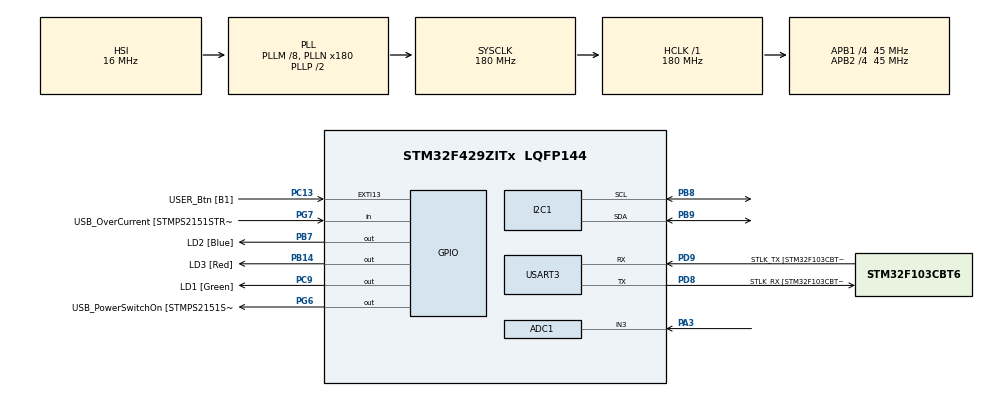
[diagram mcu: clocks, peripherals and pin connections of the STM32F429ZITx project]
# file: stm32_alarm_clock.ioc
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ADC1.Channel-0\#ChannelRegularConversion=ADC_CHANNEL_3
ADC1.ClockPrescaler=ADC_CLOCK_SYNC_PCLK_DIV2
ADC1.ExternalTrigConv=ADC_EXTERNALTRIGCONV_T3_TRGO
ADC1.ExternalTrigConvEdge=ADC_EXTERNALTRIGCONVEDGE_RISINGFALLING
ADC1.NbrOfConversionFlag=1
ADC1.Rank-0\#ChannelRegularConversion=1
ADC1.SamplingTime-0\#ChannelRegularConversion=ADC_SAMPLETIME_3CYCLES
ADC1.master=1
Mcu.Family=STM32F4
Mcu.Name=STM32F429ZITx
Mcu.Package=LQFP144
NVIC.EXTI15_10_IRQn=true\:0\:0\:false\:true\:true\:1\:true\:true
NVIC.PriorityGroup=NVIC_PRIORITYGROUP_4
NVIC.TIM2_IRQn=true\:0\:0\:false\:false\:true\:true\:true
NVIC.TIM3_IRQn=true\:0\:0\:false\:false\:true\:true\:true
NVIC.USART3_IRQn=true\:0\:0\:false\:false\:true\:true\:true
PA1.GPIO_Label=RMII_REF_CLK [LAN8742A-CZ-TR_REFCLK0]
PA1.Signal=ETH_REF_CLK
PA10.GPIO_Label=USB_ID
PA10.Signal=USB_OTG_FS_ID
PA11.GPIO_Label=USB_DM
PA11.Signal=USB_OTG_FS_DM
PA12.GPIO_Label=USB_DP
PA12.Signal=USB_OTG_FS_DP
PA13.GPIO_Label=TMS
PA13.Mode=Serial_Wire
PA13.Signal=SYS_JTMS-SWDIO
PA14.GPIO_Label=TCK
PA14.Mode=Serial_Wire
PA14.Signal=SYS_JTCK-SWCLK
PA2.GPIO_Label=RMII_MDIO [LAN8742A-CZ-TR_MDIO]
PA2.Signal=ETH_MDIO
PA3.Signal=ADCx_IN3
PA7.GPIO_Label=RMII_CRS_DV [LAN8742A-CZ-TR_CRS_DV]
PA7.Signal=ETH_CRS_DV
PA8.GPIO_Label=USB_SOF [TP1]
PA8.Signal=USB_OTG_FS_SOF
PA9.GPIO_Label=USB_VBUS
PA9.Signal=USB_OTG_FS_VBUS
PB13.GPIO_Label=RMII_TXD1 [LAN8742A-CZ-TR_TXD1]
PB13.Signal=ETH_TXD1
PB14.GPIO_Label=LD3 [Red]
PB14.Signal=GPIO_Output
PB7.GPIO_Label=LD2 [Blue]
PB7.Signal=GPIO_Output
PB8.Mode=I2C
PB8.Signal=I2C1_SCL
PB9.Mode=I2C
PB9.Signal=I2C1_SDA
PC1.GPIO_Label=RMII_MDC [LAN8742A-CZ-TR_MDC]
PC1.Signal=ETH_MDC
PC13.GPIO_Label=USER_Btn [B1]
PC13.GPIO_ModeDefaultEXTI=GPIO_MODE_IT_RISING_FALLING
PC13.Signal=GPXTI13
PC14/OSC32_IN.Mode=LSE-External-Oscillator
PC14/OSC32_IN.Signal=RCC_OSC32_IN
PC15/OSC32_OUT.Mode=LSE-External-Oscillator
PC15/OSC32_OUT.Signal=RCC_OSC32_OUT
PC4.GPIO_Label=RMII_RXD0 [LAN8742A-CZ-TR_RXD0]
PC4.Signal=ETH_RXD0
PC5.GPIO_Label=RMII_RXD1 [LAN8742A-CZ-TR_RXD1]
PC5.Signal=ETH_RXD1
PC9.GPIO_Label=LD1 [Green]
PC9.Signal=GPIO_Output
PD8.GPIO_Label=STLK_RX [STM32F103CBT6_PA3]
PD8.Mode=Asynchronous
PD8.Signal=USART3_TX
PD9.GPIO_Label=STLK_TX [STM32F103CBT6_PA2]
PD9.Mode=Asynchronous
PD9.Signal=USART3_RX
PG11.GPIO_Label=RMII_TX_EN [LAN8742A-CZ-TR_TXEN]
PG11.Signal=ETH_TX_EN
PG13.GPIO_Label=RMII_TXD0 [LAN8742A-CZ-TR_TXD0]
PG13.Signal=ETH_TXD0
PG6.GPIO_Label=USB_PowerSwitchOn [STMPS2151STR_EN]
PG6.Signal=GPIO_Output
PG7.GPIO_Label=USB_OverCurrent [STMPS2151STR_FAULT]
PG7.Signal=GPIO_Input
PH0/OSC_IN.GPIO_Label=MCO [STM32F103CBT6_PA8]
PH0/OSC_IN.Signal=RCC_OSC_IN
ProjectManager.HeapSize=0x200
ProjectManager.StackSize=0x400
ProjectManager.TargetToolchain=STM32CubeIDE
RCC.48MHZClocksFreq_Value=51428571.428571425
RCC.AHBFreq_Value=180000000
RCC.APB1CLKDivider=RCC_HCLK_DIV4
RCC.APB1Freq_Value=45000000
RCC.APB1TimFreq_Value=90000000
RCC.APB2CLKDivider=RCC_HCLK_DIV4
RCC.APB2Freq_Value=45000000
RCC.APB2TimCLKDivider=2
RCC.APB2TimFreq_Value=90000000
RCC.CortexFreq_Value=180000000
RCC.HCLKFreq_Value=180000000
RCC.HSE_VALUE=8000000
RCC.HSI_VALUE=16000000
RCC.PLLM=8
RCC.PLLMUL=RCC_PLL_MUL9
RCC.PLLN=180
RCC.PLLQ=7
RCC.PRESCALERUSB=RCC_USBCLKSOURCE_PLL_DIV1_5
RCC.RCC_RTC_Clock_Source=RCC_RTCCLKSOURCE_LSE
RCC.RCC_RTC_Clock_SourceVirtual=RCC_RTCCLKSOURCE_LSE
RCC.SYSCLKFreq_VALUE=180000000
RCC.SYSCLKSource=RCC_SYSCLKSOURCE_PLLCLK
RCC.SYSCLKSourceVirtual=RCC_SYSCLKSOURCE_PLLCLK
RCC.USBFreq_Value=48000000
RCC.VCOOutputFreq_Value=360000000
SH.ADCx_IN3.0=ADC1_IN3,IN3
TIM2.Period=900
TIM2.Prescaler=1000
TIM3.Period=900
TIM3.Prescaler=10000
TIM3.TIM_MasterOutputTrigger=TIM_TRGO_UPDATE
TIM3.TIM_MasterSlaveMode=TIM_MASTERSLAVEMODE_ENABLE
USART3.VirtualMode=VM_ASYNC
VP_RTC_VS_RTC_Activate.Mode=RTC_Enabled
VP_TIM2_VS_ClockSourceINT.Mode=Internal
VP_TIM3_VS_ClockSourceINT.Mode=Internal
board=NUCLEO-F429ZI

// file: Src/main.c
/* USER CODE BEGIN Header */
/**
  ******************************************************************************
  * @file           : main.c
  * @brief          : Main program body
  ******************************************************************************
  * @attention
  *
  * <h2><center>&copy; Copyright (c) 2020 STMicroelectronics.
  * All rights reserved.</center></h2>
  *
  * This software component is licensed by ST under BSD 3-Clause license,
  * the "License"; You may not use this file except in compliance with the
  * License. You may obtain a copy of the License at:
  *                        opensource.org/licenses/BSD-3-Clause
  *
  ******************************************************************************
  */
/* USER CODE END Header */

#include "main.h"

/* USER CODE BEGIN PD */
/* Arrow Keys mapping
 * UP = 'A' = 65
 * DOWN = 'B' = 66
 * RIGHT = 'C' = 67
 * LEFT = 'D' = 68
 * ENTER = 13
 */
int ADC_value;

#define UP_KEY_MIN 0
#define UP_KEY_MAX 10
#define DOWN_KEY_MIN 830
#define DOWN_KEY_MAX 870
#define LEFT_KEY_MIN 1900
#define LEFT_KEY_MAX 1980
#define RIGHT_KEY_MIN 2920
#define RIGHT_KEY_MAX 3020

#define UP_KEY  65
#define DOWN_KEY 66
#define RIGHT_KEY 67
#define LEFT_KEY  68
#define SEL_KEY  13

#define LONG_CLICK_MIN 20
#define LONG_CLICK_MAX 50
#define LONG_CLICK_COUNT 30

#define DOUBLE_CLICK_MIN 100
#define DOUBLE_CLICK_MAX 200

#define NORMAL_CLICK_MIN 500

enum CLOCK_MODE{
	NORMAL_STATE,
	TIME_SETTING,
	ALARM_TIME_SETTING,
	MUSIC_SELECT
};

enum CLOCK_BUTTON{
	NO_KEY,
	UP,
	DOWN,
	RIGHT,
	LEFT,
	SEL
};

struct clock_state{
	enum CLOCK_MODE mode;
	enum CLOCK_BUTTON button;
	int music_num;
};

struct clock_state current_state;

typedef struct {
  int8_t hours;
  int8_t minutes;
  int8_t seconds;
}TimeTypeDef;

TimeTypeDef ctime;  // current time
TimeTypeDef stime; // setting time
TimeTypeDef atime;  // alarm time

typedef struct {
  int8_t music_num;
  char music_title[16];
}MusicTypeDef;

MusicTypeDef alarm_music[] =
{
  {0,"Three Bears"},
  {1,"Spring Water"},
  {2,"Bicycle"},
  {3,"Home town"},
  {4,"Mom"},

};

/* Base address of the Flash sectors Bank 1 */
#define ADDR_FLASH_SECTOR_0     ((uint32_t)0x08000000) /* Base @ of Sector 0, 16 Kbytes */
#define ADDR_FLASH_SECTOR_1     ((uint32_t)0x08004000) /* Base @ of Sector 1, 16 Kbytes */
#define ADDR_FLASH_SECTOR_2     ((uint32_t)0x08008000) /* Base @ of Sector 2, 16 Kbytes */
#define ADDR_FLASH_SECTOR_3     ((uint32_t)0x0800C000) /* Base @ of Sector 3, 16 Kbytes */
#define ADDR_FLASH_SECTOR_4     ((uint32_t)0x08010000) /* Base @ of Sector 4, 64 Kbytes */
#define ADDR_FLASH_SECTOR_5     ((uint32_t)0x08020000) /* Base @ of Sector 5, 128 Kbytes */
#define ADDR_FLASH_SECTOR_6     ((uint32_t)0x08040000) /* Base @ of Sector 6, 128 Kbytes */
#define ADDR_FLASH_SECTOR_7     ((uint32_t)0x08060000) /* Base @ of Sector 7, 128 Kbytes */
#define ADDR_FLASH_SECTOR_8     ((uint32_t)0x08080000) /* Base @ of Sector 8, 128 Kbytes */
#define ADDR_FLASH_SECTOR_9     ((uint32_t)0x080A0000) /* Base @ of Sector 9, 128 Kbytes */
#define ADDR_FLASH_SECTOR_10    ((uint32_t)0x080C0000) /* Base @ of Sector 10, 128 Kbytes */
#define ADDR_FLASH_SECTOR_11    ((uint32_t)0x080E0000) /* Base @ of Sector 11, 128 Kbytes */

/* Base address of the Flash sectors Bank 2 */
#define ADDR_FLASH_SECTOR_12     ((uint32_t)0x08100000) /* Base @ of Sector 0, 16 Kbytes */
#define ADDR_FLASH_SECTOR_13     ((uint32_t)0x08104000) /* Base @ of Sector 1, 16 Kbytes */
#define ADDR_FLASH_SECTOR_14     ((uint32_t)0x08108000) /* Base @ of Sector 2, 16 Kbytes */
#define ADDR_FLASH_SECTOR_15     ((uint32_t)0x0810C000) /* Base @ of Sector 3, 16 Kbytes */
#define ADDR_FLASH_SECTOR_16     ((uint32_t)0x08110000) /* Base @ of Sector 4, 64 Kbytes */
#define ADDR_FLASH_SECTOR_17     ((uint32_t)0x08120000) /* Base @ of Sector 5, 128 Kbytes */
#define ADDR_FLASH_SECTOR_18     ((uint32_t)0x08140000) /* Base @ of Sector 6, 128 Kbytes */
#define ADDR_FLASH_SECTOR_19     ((uint32_t)0x08160000) /* Base @ of Sector 7, 128 Kbytes */
#define ADDR_FLASH_SECTOR_20     ((uint32_t)0x08180000) /* Base @ of Sector 8, 128 Kbytes  */
#define ADDR_FLASH_SECTOR_21     ((uint32_t)0x081A0000) /* Base @ of Sector 9, 128 Kbytes  */
#define ADDR_FLASH_SECTOR_22     ((uint32_t)0x081C0000) /* Base @ of Sector 10, 128 Kbytes */
#define ADDR_FLASH_SECTOR_23     ((uint32_t)0x081E0000) /* Base @ of Sector 11, 128 Kbytes */

#define MAGIC_NUM 0xdeadbeef

typedef struct {
  uint32_t magic_num;
  TimeTypeDef setting_time;
  TimeTypeDef alarm_time;
  int8_t alarm_music_num;
}NVitemTypeDef;

#define nv_items  ((NVitemTypeDef *) ADDR_FLASH_SECTOR_23)

NVitemTypeDef default_nvitem =
{
  MAGIC_NUM,
  {0,0,0},
  {0,0,0},
  0
};
int flag;
////////////////////i2c scan
#define LCD_ADDR (0x27 << 1)

#define PIN_RS    (1 << 0)
#define PIN_EN    (1 << 2)
#define BACKLIGHT (1 << 3)

#define LCD_DELAY_MS 5

/* USER CODE END PD */

ADC_HandleTypeDef hadc1;

I2C_HandleTypeDef hi2c1;

RTC_HandleTypeDef hrtc;

TIM_HandleTypeDef htim2;
TIM_HandleTypeDef htim3;

UART_HandleTypeDef huart3;

void SystemClock_Config(void);
static void MX_GPIO_Init(void);
static void MX_RTC_Init(void);
static void MX_USART3_UART_Init(void);
static void MX_TIM2_Init(void);
static void MX_I2C1_Init(void);
static void MX_TIM3_Init(void);
static void MX_ADC1_Init(void);
static void MX_NVIC_Init(void);
/* USER CODE BEGIN PFP */
void time_display(void);
void mode_analysis(void);
void stime_setting(void);
void atime_setting(void);
void music_select(void);
HAL_StatusTypeDef update_nvitems(void);
void HAL_GPIO_EXTI_Callback(uint16_t GPIO_Pin);

/* USER CODE END PFP */

/* USER CODE BEGIN 0 */
#ifdef __GNUC__
  /* With GCC, small printf (option LD Linker->Libraries->Small printf
     set to 'Yes') calls __io_putchar() */
  #define PUTCHAR_PROTOTYPE int __io_putchar(int ch)
#else
  #define PUTCHAR_PROTOTYPE int fputc(int ch, FILE *f)
#endif /* __GNUC__ */

HAL_StatusTypeDef update_nvitems(void)
{
	uint32_t FirstSector,NbOfSectors,SECTORError;
	FLASH_EraseInitTypeDef EraseInitStruct;
	HAL_StatusTypeDef error= HAL_OK;
    uint32_t Address,i;
    uint64_t Data;
    uint8_t *ptr;

	HAL_FLASH_Unlock();
	FirstSector = FLASH_SECTOR_23;
	NbOfSectors = 1;

	EraseInitStruct.TypeErase     = FLASH_TYPEERASE_SECTORS;
	EraseInitStruct.VoltageRange  = FLASH_VOLTAGE_RANGE_3;
	EraseInitStruct.Sector        = FirstSector;
	EraseInitStruct.NbSectors     = NbOfSectors;

	error = HAL_FLASHEx_Erase(&EraseInitStruct, &SECTORError);
	if(error != HAL_OK)
	{
		return error;
	}

	ptr = (uint8_t*)&default_nvitem;

	for(i=0;i<sizeof(NVitemTypeDef);i++)
	{
		Address = (uint8_t*)nv_items+i;
		Data = *((uint8_t*)ptr+ i);
		error = HAL_FLASH_Program(FLASH_TYPEPROGRAM_BYTE,Address,Data);
		if(error != HAL_OK)
		{
			return error;
		}
	}

	HAL_FLASH_Lock();
}
volatile int timer_count,second,minute,hour;
char line[2][18], time_str[16];
uint8_t key_value;
char uart_buf[30];

void HAL_TIM_PeriodElapsedCallback(TIM_HandleTypeDef *htim)
{
  if(htim->Instance==TIM2)
  {
    if((timer_count%100)==0)
    {
      ctime.seconds++;

      if(ctime.seconds>=60)
      {
    	ctime.minutes++;
    	ctime.seconds = 0;
      }
      if(ctime.minutes>=60)
      {
    	ctime.hours++;
        ctime.minutes = 0;
      }
      if(ctime.hours>=24)
      {
    	ctime.hours = 0;
      }
#if 1
      if(current_state.mode==NORMAL_STATE)
      {
		  time_display();
      }
#endif
    }
	  timer_count++;
  }

  if(htim->Instance==TIM3)
  {
	  ADC_value = HAL_ADC_GetValue(&hadc1);
	      printf("ADC : %0d\r\n",ADC_value);
	      if(ADC_value<=UP_KEY_MAX)
	      {
	      	printf("UP\r\n");
	      }
	      if(ADC_value>= DOWN_KEY_MIN && ADC_value<=DOWN_KEY_MAX)
	      {
	      	printf("DOWN\r\n");
	      }
	      if(ADC_value>= LEFT_KEY_MIN && ADC_value<=LEFT_KEY_MAX)
	      {
	      	printf("LEFT\r\n");
	      }
	      if(ADC_value>= RIGHT_KEY_MIN && ADC_value<=RIGHT_KEY_MAX)
	      {
	      	printf("RIGHT\r\n");
	      }

  }
}

void time_display(void)
{
  uint8_t hours;
  uint8_t minutes;
  uint8_t seconds;

  memset(line,0,sizeof(line));

  if(current_state.mode == NORMAL_STATE)
  {
	  sprintf(line[0],"Korea Polytech     \r\n");
	  hours = ctime.hours;
	  minutes = ctime.minutes;
	  seconds = ctime.seconds;
  }
  else if(current_state.mode == TIME_SETTING)
  {
	  sprintf(line[0],"Time Setting       \r\n");
	  hours = stime.hours;
	  minutes = stime.minutes;
	  seconds = stime.seconds;
  }
  else if(current_state.mode == ALARM_TIME_SETTING)
  {
	  sprintf(line[0],"Alarm Setting       \r\n");
	  hours = atime.hours;
	  minutes = atime.minutes;
	  seconds = atime.seconds;
  }

  if(hours>=12)
  {
    strncpy(line[1],"PM ",3);
    sprintf(time_str,"%02d:%02d:%02d     ",hours-12,minutes,seconds);
  }
  else
  {
    strncpy(line[1],"AM ",3);
    sprintf(time_str,"%02d:%02d:%02d     ",hours,minutes,seconds);
  }
  strcat(line[1],time_str);

  if(current_state.mode == ALARM_TIME_SETTING)
	  strcat(line[1]," AL \r\n");
  else
	  strcat(line[1],"\r\n");

  HAL_UART_Transmit_IT(&huart3,(uint8_t *)line,sizeof(line));

}

uint32_t last_time,current_time,time_interval, last_time_interval;
uint32_t long_key_count;
/* Arrow Keys mapping
 * UP = 'A' = 65
 * DOWN = 'B' = 66
 * RIGHT = 'C' = 67
 * LEFT = 'D' = 68
 * ENTER = 13
 */
/*
 * Double click : time_interval = 100~200ms
 * Long Key : time_interval = 20~50ms in 30 consecutive times
 */

void HAL_UART_RxCpltCallback(UART_HandleTypeDef *huart)
{

  if (huart->Instance == USART3)
  {
	current_time = HAL_GetTick();
    time_interval = current_time - last_time;
    last_time = current_time;

    switch(current_state.mode)
    {
      case NORMAL_STATE:
    	  switch(key_value)
    	  {
    	  	  case SEL_KEY:
        		  current_state.button = SEL;
        		  mode_analysis();
    	  		  break;
    	  	  default:  // Arrow keys is Not valid in NORMAL state
    	  		  break;
    	  }
    	  break;
      case TIME_SETTING:
    	  stime_setting();
    	  break;
      case ALARM_TIME_SETTING:
    	  atime_setting();
    	  break;
      case MUSIC_SELECT:
    	  music_select();
    	  break;
      default:
    	  break;
    }
    last_time_interval = time_interval;

	/* Receive one byte in interrupt mode */
	HAL_UART_Receive_IT(&huart3, &key_value, 1);
  }
}

void music_select(void)
{
  int pos, count;

  pos = current_state.music_num;
  count = sizeof(alarm_music)/sizeof(alarm_music[0]);  //total music count

  switch(key_value)
  {
    case UP_KEY:
    	pos++;
    	if(pos==count)
    	{
          pos =0;
    	}
    	break;
    case DOWN_KEY:
    	pos--;
    	if(pos < 0)
    	{
          pos =count-1;
    	}
    	break;
      case SEL_KEY:
	  case RIGHT_KEY:
		  default_nvitem.alarm_music_num = pos;
    	  update_nvitems();
		  current_state.mode = NORMAL_STATE;
		  break;

  }
  current_state.music_num =  pos;

  memset(line,0,sizeof(line));
  if(pos <= count-2)
  {
    sprintf(line[0],"%s <\r\n",alarm_music[pos].music_title);  // "<" mark is selected music title
    sprintf(line[1],"%s \r\n",alarm_music[pos+1].music_title);
  }
  else
  {
    sprintf(line[0],"%s <\r\n",alarm_music[pos].music_title);
    sprintf(line[1],"%s \r\n",alarm_music[0].music_title);
  }

  HAL_UART_Transmit_IT(&huart3,(uint8_t *)line,sizeof(line));

}

void stime_setting(void)
{
static	int position = 0;

	if(position==0)
	{
		switch(key_value)
		{
		  case SEL_KEY:
		  case RIGHT_KEY:
			  position =1;
			  break;
		  case UP_KEY:
		  case DOWN_KEY:
			  if(stime.hours>=12)
				  stime.hours -=12;
			  else
				  stime.hours +=12;
			  break;
		  default:
			  break;
		}
	}
	else if(position==1)
	{
		switch(key_value)
		{
		  case SEL_KEY:
		  case RIGHT_KEY:
			  position =2;
			  break;
		  case LEFT_KEY:
			  position =0;
			  break;
		  case UP_KEY:
			  stime.hours++;
			  if(stime.hours>=12)
				  stime.hours = 0;
			  break;
		  case DOWN_KEY:
			  stime.hours--;
			  if(stime.hours<0)
				  stime.hours = 11;
			  break;
		  default:
			  break;
		}

	}
	else if(position==2)
	{
		switch(key_value)
		{
		  case SEL_KEY:
		  case RIGHT_KEY:
			  position =3;
			  break;
		  case LEFT_KEY:
			  position =1;
			  break;
		  case UP_KEY:
			  stime.minutes++;
			  if(stime.minutes>=60)
				  stime.minutes = 0;
			  break;
		  case DOWN_KEY:
			  stime.minutes--;
			  if(stime.minutes<0)
				  stime.minutes = 59;
			  break;
		  default:
			  break;
		}
	}
	else if(position==3)
	{
		switch(key_value)
		{
		  case SEL_KEY:
		  case RIGHT_KEY:
			  position = 0;
	    	  ctime.hours = stime.hours;
	    	  ctime.minutes = stime.minutes;
	    	  ctime.seconds = stime.seconds;

	    	  default_nvitem.setting_time.hours = stime.hours;
	    	  default_nvitem.setting_time.minutes = stime.minutes;
	    	  default_nvitem.setting_time.seconds = stime.seconds;
	    	  update_nvitems();
			  current_state.mode = NORMAL_STATE;
			  break;
		  case LEFT_KEY:
			  position =2;
			  break;
		  case UP_KEY:
			  stime.seconds++;
			  if(stime.seconds>=60)
				  stime.seconds = 0;
			  break;
		  case DOWN_KEY:
			  stime.seconds--;
			  if(stime.seconds<0)
				  stime.seconds = 59;
			  break;
		  default:
			  break;
		}
	}
//	printf("<%d,%d,%d,%d,%d>\r\n",key_value,position,stime.hours,stime.minutes,stime.seconds);
	time_display();
}

void atime_setting(void)
{
static	int position = 0;

	if(position==0)
	{
		switch(key_value)
		{
//		  case SEL_KEY:
		  case RIGHT_KEY:
			  position =1;
			  break;
		  case UP_KEY:
		  case DOWN_KEY:
			  if(atime.hours>=12)
				  atime.hours -=12;
			  else
				  atime.hours +=12;
			  break;
		  default:
			  break;
		}
	}
	else if(position==1)
	{
		switch(key_value)
		{
//		  case SEL_KEY:
		  case RIGHT_KEY:
			  position =2;
			  break;
		  case LEFT_KEY:
			  position =0;
			  break;
		  case UP_KEY:
			  atime.hours++;
			  if(atime.hours>=12)
				  atime.hours = 0;
			  break;
		  case DOWN_KEY:
			  atime.hours--;
			  if(atime.hours<0)
				  atime.hours = 11;
			  break;
		  default:
			  break;
		}

	}
	else if(position==2)
	{
		switch(key_value)
		{
//		  case SEL_KEY:
		  case RIGHT_KEY:
			  position =3;
			  break;
		  case LEFT_KEY:
			  position =1;
			  break;
		  case UP_KEY:
			  atime.minutes++;
			  if(atime.minutes>=60)
				  atime.minutes = 0;
			  break;
		  case DOWN_KEY:
			  atime.minutes--;
			  if(atime.minutes<0)
				  atime.minutes = 59;
			  break;
		  default:
			  break;
		}
	}
	else if(position==3)
	{
		switch(key_value)
		{
//		  case SEL_KEY:
		  case RIGHT_KEY:
			  position = 0;

			  default_nvitem.alarm_time.hours = atime.hours;
	    	  default_nvitem.alarm_time.minutes = atime.minutes;
	    	  default_nvitem.alarm_time.seconds = atime.seconds;
	    	  update_nvitems();

			  current_state.mode = NORMAL_STATE;
			  break;
		  case LEFT_KEY:
			  position =2;
			  break;
		  case UP_KEY:
			  atime.seconds++;
			  if(atime.seconds>=60)
				  atime.seconds = 0;
			  break;
		  case DOWN_KEY:
			  atime.seconds--;
			  if(atime.seconds<0)
				  atime.seconds = 59;
			  break;
		  default:
			  break;
		}
	}
	printf("[%d,%d,%d,%d,%d]\r\n",key_value,position,atime.hours,atime.minutes,atime.seconds);
	time_display();
}
void mode_analysis(void)
{

    if(time_interval>=LONG_CLICK_MIN && time_interval <=LONG_CLICK_MAX)
    {
    	long_key_count++;
    }
    else if(time_interval>=DOUBLE_CLICK_MIN && time_interval <=DOUBLE_CLICK_MAX)
    {
      if(current_state.mode == NORMAL_STATE)
      {
    	  current_state.mode = MUSIC_SELECT;
          printf("MUSIC_SELECT %ld\r\n",time_interval);
      }
      long_key_count = 0;
    }
    else if(time_interval>= NORMAL_CLICK_MIN)
    {
    	if(current_state.mode == NORMAL_STATE)
    	{
    	  current_state.mode = TIME_SETTING;
    	  stime.hours = ctime.hours;
    	  stime.minutes = ctime.minutes;
    	  stime.seconds = ctime.seconds;
    	  printf("TIME_SETTING     %ld\r\n",time_interval);
    	  time_display();
    	}
      long_key_count = 0;
    }

    if(long_key_count>=LONG_CLICK_COUNT)
    {
      if(current_state.mode == NORMAL_STATE)
      {
        current_state.mode  = ALARM_TIME_SETTING;
        printf("ALARM_TIME_SETTING    %ld\r\n",time_interval);
      }
      long_key_count = 0;
    }
}

/////// i2c
HAL_StatusTypeDef LCD_SendInternal(uint8_t lcd_addr, uint8_t data, uint8_t flags) {
    HAL_StatusTypeDef res;
    for(;;) {
        res = HAL_I2C_IsDeviceReady(&hi2c1, lcd_addr, 1, HAL_MAX_DELAY);
        if(res == HAL_OK)
            break;
    }

    uint8_t up = data & 0xF0;
    uint8_t lo = (data << 4) & 0xF0;

    uint8_t data_arr[4];
    data_arr[0] = up|flags|BACKLIGHT|PIN_EN;
    data_arr[1] = up|flags|BACKLIGHT;
    data_arr[2] = lo|flags|BACKLIGHT|PIN_EN;
    data_arr[3] = lo|flags|BACKLIGHT;

    res = HAL_I2C_Master_Transmit(&hi2c1, lcd_addr, data_arr, sizeof(data_arr), HAL_MAX_DELAY);
    HAL_Delay(LCD_DELAY_MS);
    return res;
}

void LCD_SendCommand(uint8_t lcd_addr, uint8_t cmd) {
    LCD_SendInternal(lcd_addr, cmd, 0);
}

void LCD_SendData(uint8_t lcd_addr, uint8_t data) {
    LCD_SendInternal(lcd_addr, data, PIN_RS);
}

void LCD_Init(uint8_t lcd_addr) {
    // 4-bit mode, 2 lines, 5x7 format
    LCD_SendCommand(lcd_addr, 0b00110000);
    // display & cursor home (keep this!)
    LCD_SendCommand(lcd_addr, 0b00000010);
    // display on, right shift, underline off, blink off
    LCD_SendCommand(lcd_addr, 0b00001100);
    // clear display (optional here)
    LCD_SendCommand(lcd_addr, 0b00000001);
}

void LCD_SendString(uint8_t lcd_addr, char *str) {
    while(*str) {
        LCD_SendData(lcd_addr, (uint8_t)(*str));
        str++;
    }
}
void LCD_print(int line_num, char* str)
{
	if(line_num==0)
	{
		LCD_SendCommand(LCD_ADDR, 0b10000000);
		LCD_SendString(LCD_ADDR, str);
	}
	else
	{
		LCD_SendCommand(LCD_ADDR, 0b11000000);
	    LCD_SendString(LCD_ADDR, str);
	}
}
void init() {
    //I2C_Scan();
    LCD_Init(LCD_ADDR);

    // set address to 0x00
    LCD_SendCommand(LCD_ADDR, 0b10000000);
    LCD_SendString(LCD_ADDR, line[0]);

    // set address to 0x40
    LCD_SendCommand(LCD_ADDR, 0b11000000);
    LCD_SendString(LCD_ADDR, line[1]);
}

void loop() {
    HAL_Delay(100);
}

///////gpio
uint32_t last_time,current_time,time_interval, last_time_interval;

typedef struct{
  int32_t time;
  GPIO_PinState level;
}ClickInfoDef;

ClickInfoDef click[3];

#define LONG_CLICK_MIN 1500  //1.5sec
#define LONG_CLICK_MAX 5000  //5sec

#define DOUBLE_CLICK_MIN 40
#define DOUBLE_CLICK_MAX 120

void HAL_GPIO_EXTI_Callback(uint16_t GPIO_Pin)
{
  GPIO_PinState pin;
  int i;

  if(GPIO_Pin == GPIO_PIN_13)
  {
	current_time = HAL_GetTick();
    time_interval = current_time - last_time;
    last_time = current_time;

    pin = HAL_GPIO_ReadPin(GPIOC,GPIO_PIN_13);

	printf("<%d,%d>\r\n",pin,time_interval);

    if(time_interval<=2) // noise
    {
    	printf("Noise %d,%d\r\n",pin,time_interval);
    }
    else
    {

      click[2].time = click[1].time;
      click[2].level = click[1].level;

      click[1].time = click[0].time;
      click[1].level = click[0].level;

      click[0].time = time_interval;
      click[0].level = pin;
#if 0
      printf("===============\r\n");

      for(i=0;i<3;i++)
      {
    	  printf("[%d,%d]\r\n",click[i].level,click[i].time);
      }
      printf("===============\r\n");
#endif

//      if( click[2].level ==GPIO_PIN_RESET && click[1].level == GPIO_PIN_SET &&  click[0].level ==GPIO_PIN_RESET)
//      {
//    	  for(i=0;i<3;i++)
//    	  {
//    		  if(click[i].time>= DOUBLE_CLICK_MIN && click[i].time <= DOUBLE_CLICK_MAX)
//    		  {
//    			  continue;
//    		  }
//    		  else
//    			  break;
//    	  }
//    	  if(i==3)
//    	  {
//      		printf("Double Click\r\n");
//    	  }
//      }
//
//	  if(click[0].level == GPIO_PIN_RESET && click[0].time >=LONG_CLICK_MIN) // long click
//	  {
//		printf("Long Key\r\n");
//		current_state.mode = TIME_SETTING;
//
//	  }
//	  else if(click[0].level == GPIO_PIN_RESET && click[0].time < LONG_CLICK_MIN && click[0].time > DOUBLE_CLICK_MAX)
//	  {
//		 printf("Select Key, %d\r\n",click[0].time);
//	  }

      if( click[2].level ==GPIO_PIN_RESET && click[1].level == GPIO_PIN_SET &&  click[0].level ==GPIO_PIN_RESET)
            {
               for(i=0;i<3;i++)
               {
                  if(click[i].time>= DOUBLE_CLICK_MIN && click[i].time <= DOUBLE_CLICK_MAX)
                  {
                     continue;
                  }
                  else
                     break;
               }
               if(i==3)
               {
                  printf("Double Click\r\n");

               }
            }
           if(click[0].level == GPIO_PIN_RESET && click[0].time >=LONG_CLICK_MIN) // long click
           {
            printf("Long Key\r\n");
              ++flag;
              if(flag==0)
              {
                  current_state.mode=NORMAL_STATE;
              }
              else if(flag==1)
              {
                  current_state.mode = TIME_SETTING;

              }
              else if(flag==2)
              {
                  current_state.mode = ALARM_TIME_SETTING;

              }
              else if(flag==3)
              {
                 current_state.mode=NORMAL_STATE;
                 flag=0;
                 //time_display();
              }

           }
           else if(click[0].level == GPIO_PIN_RESET && click[0].time < LONG_CLICK_MIN && click[0].time > DOUBLE_CLICK_MAX)
           {
             printf("Select Key, %d\r\n",click[0].time);
             //key_value=SEL_KEY;
           }

    }
  }
}

/* USER CODE END 0 */

int main(void)
{

  /* MCU Configuration--------------------------------------------------------*/

  /* Reset of all peripherals, Initializes the Flash interface and the Systick. */
  HAL_Init();

  /* Configure the system clock */
  SystemClock_Config();

  /* Initialize all configured peripherals */
  MX_GPIO_Init();
  MX_RTC_Init();
  MX_USART3_UART_Init();
  MX_TIM2_Init();
  MX_I2C1_Init();
  MX_TIM3_Init();
  MX_ADC1_Init();

  /* Initialize interrupts */
  MX_NVIC_Init();
  /* USER CODE BEGIN 2 */
  HAL_ADC_Start(&hadc1);

   HAL_TIM_Base_Start_IT(&htim3);
  HAL_TIM_Base_Init(&htim2);
  HAL_TIM_Base_Start_IT(&htim2);

  HAL_UART_Receive_IT(&huart3,&key_value,1);

  init();

  current_state.mode = NORMAL_STATE;
  current_state.button = NO_KEY;
  current_state.music_num = 0;

  if(nv_items->magic_num == MAGIC_NUM) //
  {
    memcpy(&default_nvitem,nv_items,sizeof(NVitemTypeDef));
    ctime.hours = default_nvitem.setting_time.hours;
	ctime.minutes = default_nvitem.setting_time.minutes;
	ctime.seconds = default_nvitem.setting_time.seconds;
  }
  else
  {
	update_nvitems();
  }
  /* USER CODE END 2 */

  /* Infinite loop */
  while (1)
  {

    /* USER CODE BEGIN 3 */

	  switch(current_state.mode)
	  {
	  case  NORMAL_STATE:
	      time_display();
	      LCD_SendCommand(LCD_ADDR, 0b10000000);
	      LCD_SendString(LCD_ADDR, line[0]);
	      LCD_SendCommand(LCD_ADDR, 0b11000000);
	      LCD_SendString(LCD_ADDR, line[1]);
	   break;
	  case TIME_SETTING:
		   time_display();
		   LCD_SendCommand(LCD_ADDR, 0b10000000);
		   LCD_SendString(LCD_ADDR, line[0]);
		   LCD_SendCommand(LCD_ADDR, 0b11000000);
		   LCD_SendString(LCD_ADDR, line[1]);
	  break;

	  case ALARM_TIME_SETTING:
	  	 	  stime_setting();
	  	  	  break;
	  default:
	   		 break;
	  }

//
//	      LCD_SendCommand(LCD_ADDR, 0b10000000);
//	      LCD_SendString(LCD_ADDR, line[0]);
//
//	      // set address to 0x40
//	      LCD_SendCommand(LCD_ADDR, 0b11000000);
//	      LCD_SendString(LCD_ADDR, line[1]);

  }

  /* USER CODE END 3 */
}

void SystemClock_Config(void)
{
  RCC_OscInitTypeDef RCC_OscInitStruct = {0};
  RCC_ClkInitTypeDef RCC_ClkInitStruct = {0};
  RCC_PeriphCLKInitTypeDef PeriphClkInitStruct = {0};

  /** Configure the main internal regulator output voltage
  */
  __HAL_RCC_PWR_CLK_ENABLE();
  __HAL_PWR_VOLTAGESCALING_CONFIG(PWR_REGULATOR_VOLTAGE_SCALE1);
  /** Initializes the CPU, AHB and APB busses clocks
  */
  RCC_OscInitStruct.OscillatorType = RCC_OSCILLATORTYPE_HSI|RCC_OSCILLATORTYPE_LSE;
  RCC_OscInitStruct.LSEState = RCC_LSE_ON;
  RCC_OscInitStruct.HSIState = RCC_HSI_ON;
  RCC_OscInitStruct.HSICalibrationValue = RCC_HSICALIBRATION_DEFAULT;
  RCC_OscInitStruct.PLL.PLLState = RCC_PLL_ON;
  RCC_OscInitStruct.PLL.PLLSource = RCC_PLLSOURCE_HSI;
  RCC_OscInitStruct.PLL.PLLM = 8;
  RCC_OscInitStruct.PLL.PLLN = 180;
  RCC_OscInitStruct.PLL.PLLP = RCC_PLLP_DIV2;
  RCC_OscInitStruct.PLL.PLLQ = 7;
  if (HAL_RCC_OscConfig(&RCC_OscInitStruct) != HAL_OK)
  {
    Error_Handler();
  }
  /** Activate the Over-Drive mode
  */
  if (HAL_PWREx_EnableOverDrive() != HAL_OK)
  {
    Error_Handler();
  }
  /** Initializes the CPU, AHB and APB busses clocks
  */
  RCC_ClkInitStruct.ClockType = RCC_CLOCKTYPE_HCLK|RCC_CLOCKTYPE_SYSCLK
                              |RCC_CLOCKTYPE_PCLK1|RCC_CLOCKTYPE_PCLK2;
  RCC_ClkInitStruct.SYSCLKSource = RCC_SYSCLKSOURCE_PLLCLK;
  RCC_ClkInitStruct.AHBCLKDivider = RCC_SYSCLK_DIV1;
  RCC_ClkInitStruct.APB1CLKDivider = RCC_HCLK_DIV4;
  RCC_ClkInitStruct.APB2CLKDivider = RCC_HCLK_DIV4;

  if (HAL_RCC_ClockConfig(&RCC_ClkInitStruct, FLASH_LATENCY_5) != HAL_OK)
  {
    Error_Handler();
  }
  PeriphClkInitStruct.PeriphClockSelection = RCC_PERIPHCLK_RTC;
  PeriphClkInitStruct.RTCClockSelection = RCC_RTCCLKSOURCE_LSE;
  if (HAL_RCCEx_PeriphCLKConfig(&PeriphClkInitStruct) != HAL_OK)
  {
    Error_Handler();
  }
}

/**
  * @brief NVIC Configuration.
  * @retval None
  */
static void MX_NVIC_Init(void)
{
  /* EXTI15_10_IRQn interrupt configuration */
  HAL_NVIC_SetPriority(EXTI15_10_IRQn, 0, 0);
  HAL_NVIC_EnableIRQ(EXTI15_10_IRQn);
}

static void MX_ADC1_Init(void)
{

  ADC_ChannelConfTypeDef sConfig = {0};

  /** Configure the global features of the ADC (Clock, Resolution, Data Alignment and number of conversion)
  */
  hadc1.Instance = ADC1;
  hadc1.Init.ClockPrescaler = ADC_CLOCK_SYNC_PCLK_DIV2;
  hadc1.Init.Resolution = ADC_RESOLUTION_12B;
  hadc1.Init.ScanConvMode = DISABLE;
  hadc1.Init.ContinuousConvMode = DISABLE;
  hadc1.Init.DiscontinuousConvMode = DISABLE;
  hadc1.Init.ExternalTrigConvEdge = ADC_EXTERNALTRIGCONVEDGE_RISINGFALLING;
  hadc1.Init.ExternalTrigConv = ADC_EXTERNALTRIGCONV_T3_TRGO;
  hadc1.Init.DataAlign = ADC_DATAALIGN_RIGHT;
  hadc1.Init.NbrOfConversion = 1;
  hadc1.Init.DMAContinuousRequests = DISABLE;
  hadc1.Init.EOCSelection = ADC_EOC_SINGLE_CONV;
  if (HAL_ADC_Init(&hadc1) != HAL_OK)
  {
    Error_Handler();
  }
  /** Configure for the selected ADC regular channel its corresponding rank in the sequencer and its sample time.
  */
  sConfig.Channel = ADC_CHANNEL_3;
  sConfig.Rank = 1;
  sConfig.SamplingTime = ADC_SAMPLETIME_3CYCLES;
  if (HAL_ADC_ConfigChannel(&hadc1, &sConfig) != HAL_OK)
  {
    Error_Handler();
  }

}

static void MX_I2C1_Init(void)
{

  hi2c1.Instance = I2C1;
  hi2c1.Init.ClockSpeed = 100000;
  hi2c1.Init.DutyCycle = I2C_DUTYCYCLE_2;
  hi2c1.Init.OwnAddress1 = 0;
  hi2c1.Init.AddressingMode = I2C_ADDRESSINGMODE_7BIT;
  hi2c1.Init.DualAddressMode = I2C_DUALADDRESS_DISABLE;
  hi2c1.Init.OwnAddress2 = 0;
  hi2c1.Init.GeneralCallMode = I2C_GENERALCALL_DISABLE;
  hi2c1.Init.NoStretchMode = I2C_NOSTRETCH_DISABLE;
  if (HAL_I2C_Init(&hi2c1) != HAL_OK)
  {
    Error_Handler();
  }
  /** Configure Analogue filter
  */
  if (HAL_I2CEx_ConfigAnalogFilter(&hi2c1, I2C_ANALOGFILTER_ENABLE) != HAL_OK)
  {
    Error_Handler();
  }
  /** Configure Digital filter
  */
  if (HAL_I2CEx_ConfigDigitalFilter(&hi2c1, 0) != HAL_OK)
  {
    Error_Handler();
  }

}

static void MX_RTC_Init(void)
{

  /** Initialize RTC Only
  */
  hrtc.Instance = RTC;
  hrtc.Init.HourFormat = RTC_HOURFORMAT_24;
  hrtc.Init.AsynchPrediv = 127;
  hrtc.Init.SynchPrediv = 255;
  hrtc.Init.OutPut = RTC_OUTPUT_DISABLE;
  hrtc.Init.OutPutPolarity = RTC_OUTPUT_POLARITY_HIGH;
  hrtc.Init.OutPutType = RTC_OUTPUT_TYPE_OPENDRAIN;
  if (HAL_RTC_Init(&hrtc) != HAL_OK)
  {
    Error_Handler();
  }

}

static void MX_TIM2_Init(void)
{

  TIM_ClockConfigTypeDef sClockSourceConfig = {0};
  TIM_MasterConfigTypeDef sMasterConfig = {0};

  htim2.Instance = TIM2;
  htim2.Init.Prescaler = 1000;
  htim2.Init.CounterMode = TIM_COUNTERMODE_UP;
  htim2.Init.Period = 900;
  htim2.Init.ClockDivision = TIM_CLOCKDIVISION_DIV1;
  htim2.Init.AutoReloadPreload = TIM_AUTORELOAD_PRELOAD_DISABLE;
  if (HAL_TIM_Base_Init(&htim2) != HAL_OK)
  {
    Error_Handler();
  }
  sClockSourceConfig.ClockSource = TIM_CLOCKSOURCE_INTERNAL;
  if (HAL_TIM_ConfigClockSource(&htim2, &sClockSourceConfig) != HAL_OK)
  {
    Error_Handler();
  }
  sMasterConfig.MasterOutputTrigger = TIM_TRGO_RESET;
  sMasterConfig.MasterSlaveMode = TIM_MASTERSLAVEMODE_DISABLE;
  if (HAL_TIMEx_MasterConfigSynchronization(&htim2, &sMasterConfig) != HAL_OK)
  {
    Error_Handler();
  }

}

static void MX_TIM3_Init(void)
{

  TIM_ClockConfigTypeDef sClockSourceConfig = {0};
  TIM_MasterConfigTypeDef sMasterConfig = {0};

  htim3.Instance = TIM3;
  htim3.Init.Prescaler = 10000;
  htim3.Init.CounterMode = TIM_COUNTERMODE_UP;
  htim3.Init.Period = 900;
  htim3.Init.ClockDivision = TIM_CLOCKDIVISION_DIV1;
  htim3.Init.AutoReloadPreload = TIM_AUTORELOAD_PRELOAD_DISABLE;
  if (HAL_TIM_Base_Init(&htim3) != HAL_OK)
  {
    Error_Handler();
  }
  sClockSourceConfig.ClockSource = TIM_CLOCKSOURCE_INTERNAL;
  if (HAL_TIM_ConfigClockSource(&htim3, &sClockSourceConfig) != HAL_OK)
  {
    Error_Handler();
  }
  sMasterConfig.MasterOutputTrigger = TIM_TRGO_UPDATE;
  sMasterConfig.MasterSlaveMode = TIM_MASTERSLAVEMODE_ENABLE;
  if (HAL_TIMEx_MasterConfigSynchronization(&htim3, &sMasterConfig) != HAL_OK)
  {
    Error_Handler();
  }

}

static void MX_USART3_UART_Init(void)
{

  huart3.Instance = USART3;
  huart3.Init.BaudRate = 115200;
  huart3.Init.WordLength = UART_WORDLENGTH_8B;
  huart3.Init.StopBits = UART_STOPBITS_1;
  huart3.Init.Parity = UART_PARITY_NONE;
  huart3.Init.Mode = UART_MODE_TX_RX;
  huart3.Init.HwFlowCtl = UART_HWCONTROL_NONE;
  huart3.Init.OverSampling = UART_OVERSAMPLING_16;
  if (HAL_UART_Init(&huart3) != HAL_OK)
  {
    Error_Handler();
  }

}

static void MX_GPIO_Init(void)
{
  GPIO_InitTypeDef GPIO_InitStruct = {0};

  /* GPIO Ports Clock Enable */
  __HAL_RCC_GPIOC_CLK_ENABLE();
  __HAL_RCC_GPIOH_CLK_ENABLE();
  __HAL_RCC_GPIOA_CLK_ENABLE();
  __HAL_RCC_GPIOB_CLK_ENABLE();
  __HAL_RCC_GPIOD_CLK_ENABLE();
  __HAL_RCC_GPIOG_CLK_ENABLE();

  /*Configure GPIO pin Output Level */
  HAL_GPIO_WritePin(GPIOB, LD3_Pin|LD2_Pin, GPIO_PIN_RESET);

  /*Configure GPIO pin Output Level */
  HAL_GPIO_WritePin(USB_PowerSwitchOn_GPIO_Port, USB_PowerSwitchOn_Pin, GPIO_PIN_RESET);

  /*Configure GPIO pin Output Level */
  HAL_GPIO_WritePin(LD1_GPIO_Port, LD1_Pin, GPIO_PIN_RESET);

  /*Configure GPIO pin : USER_Btn_Pin */
  GPIO_InitStruct.Pin = USER_Btn_Pin;
  GPIO_InitStruct.Mode = GPIO_MODE_IT_RISING_FALLING;
  GPIO_InitStruct.Pull = GPIO_NOPULL;
  HAL_GPIO_Init(USER_Btn_GPIO_Port, &GPIO_InitStruct);

  /*Configure GPIO pins : RMII_MDC_Pin RMII_RXD0_Pin RMII_RXD1_Pin */
  GPIO_InitStruct.Pin = RMII_MDC_Pin|RMII_RXD0_Pin|RMII_RXD1_Pin;
  GPIO_InitStruct.Mode = GPIO_MODE_AF_PP;
  GPIO_InitStruct.Pull = GPIO_NOPULL;
  GPIO_InitStruct.Speed = GPIO_SPEED_FREQ_VERY_HIGH;
  GPIO_InitStruct.Alternate = GPIO_AF11_ETH;
  HAL_GPIO_Init(GPIOC, &GPIO_InitStruct);

  /*Configure GPIO pins : RMII_REF_CLK_Pin RMII_MDIO_Pin RMII_CRS_DV_Pin */
  GPIO_InitStruct.Pin = RMII_REF_CLK_Pin|RMII_MDIO_Pin|RMII_CRS_DV_Pin;
  GPIO_InitStruct.Mode = GPIO_MODE_AF_PP;
  GPIO_InitStruct.Pull = GPIO_NOPULL;
  GPIO_InitStruct.Speed = GPIO_SPEED_FREQ_VERY_HIGH;
  GPIO_InitStruct.Alternate = GPIO_AF11_ETH;
  HAL_GPIO_Init(GPIOA, &GPIO_InitStruct);

  /*Configure GPIO pin : RMII_TXD1_Pin */
  GPIO_InitStruct.Pin = RMII_TXD1_Pin;
  GPIO_InitStruct.Mode = GPIO_MODE_AF_PP;
  GPIO_InitStruct.Pull = GPIO_NOPULL;
  GPIO_InitStruct.Speed = GPIO_SPEED_FREQ_VERY_HIGH;
  GPIO_InitStruct.Alternate = GPIO_AF11_ETH;
  HAL_GPIO_Init(RMII_TXD1_GPIO_Port, &GPIO_InitStruct);

  /*Configure GPIO pins : LD3_Pin LD2_Pin */
  GPIO_InitStruct.Pin = LD3_Pin|LD2_Pin;
  GPIO_InitStruct.Mode = GPIO_MODE_OUTPUT_PP;
  GPIO_InitStruct.Pull = GPIO_NOPULL;
  GPIO_InitStruct.Speed = GPIO_SPEED_FREQ_LOW;
  HAL_GPIO_Init(GPIOB, &GPIO_InitStruct);

  /*Configure GPIO pin : USB_PowerSwitchOn_Pin */
  GPIO_InitStruct.Pin = USB_PowerSwitchOn_Pin;
  GPIO_InitStruct.Mode = GPIO_MODE_OUTPUT_PP;
  GPIO_InitStruct.Pull = GPIO_NOPULL;
  GPIO_InitStruct.Speed = GPIO_SPEED_FREQ_LOW;
  HAL_GPIO_Init(USB_PowerSwitchOn_GPIO_Port, &GPIO_InitStruct);

  /*Configure GPIO pin : USB_OverCurrent_Pin */
  GPIO_InitStruct.Pin = USB_OverCurrent_Pin;
  GPIO_InitStruct.Mode = GPIO_MODE_INPUT;
  GPIO_InitStruct.Pull = GPIO_NOPULL;
  HAL_GPIO_Init(USB_OverCurrent_GPIO_Port, &GPIO_InitStruct);

  /*Configure GPIO pin : LD1_Pin */
  GPIO_InitStruct.Pin = LD1_Pin;
  GPIO_InitStruct.Mode = GPIO_MODE_OUTPUT_PP;
  GPIO_InitStruct.Pull = GPIO_NOPULL;
  GPIO_InitStruct.Speed = GPIO_SPEED_FREQ_LOW;
  HAL_GPIO_Init(LD1_GPIO_Port, &GPIO_InitStruct);

  /*Configure GPIO pins : USB_SOF_Pin USB_ID_Pin USB_DM_Pin USB_DP_Pin */
  GPIO_InitStruct.Pin = USB_SOF_Pin|USB_ID_Pin|USB_DM_Pin|USB_DP_Pin;
  GPIO_InitStruct.Mode = GPIO_MODE_AF_PP;
  GPIO_InitStruct.Pull = GPIO_NOPULL;
  GPIO_InitStruct.Speed = GPIO_SPEED_FREQ_VERY_HIGH;
  GPIO_InitStruct.Alternate = GPIO_AF10_OTG_FS;
  HAL_GPIO_Init(GPIOA, &GPIO_InitStruct);

  /*Configure GPIO pin : USB_VBUS_Pin */
  GPIO_InitStruct.Pin = USB_VBUS_Pin;
  GPIO_InitStruct.Mode = GPIO_MODE_INPUT;
  GPIO_InitStruct.Pull = GPIO_NOPULL;
  HAL_GPIO_Init(USB_VBUS_GPIO_Port, &GPIO_InitStruct);

  /*Configure GPIO pins : RMII_TX_EN_Pin RMII_TXD0_Pin */
  GPIO_InitStruct.Pin = RMII_TX_EN_Pin|RMII_TXD0_Pin;
  GPIO_InitStruct.Mode = GPIO_MODE_AF_PP;
  GPIO_InitStruct.Pull = GPIO_NOPULL;
  GPIO_InitStruct.Speed = GPIO_SPEED_FREQ_VERY_HIGH;
  GPIO_InitStruct.Alternate = GPIO_AF11_ETH;
  HAL_GPIO_Init(GPIOG, &GPIO_InitStruct);

}

/* USER CODE BEGIN 4 */
/**
  * @brief  Retargets the C library printf function to the USART.
  * @param  None
  * @retval None
  */
PUTCHAR_PROTOTYPE
{
  /* Place your implementation of fputc here */
  /* e.g. write a character to the EVAL_COM1 and Loop until the end of transmission */
  HAL_UART_Transmit(&huart3, (uint8_t *)&ch, 1, 0xFFFF);

  return ch;
}

/* USER CODE END 4 */

void Error_Handler(void)
{
}

/************************ (C) COPYRIGHT STMicroelectronics *****END OF FILE****/
